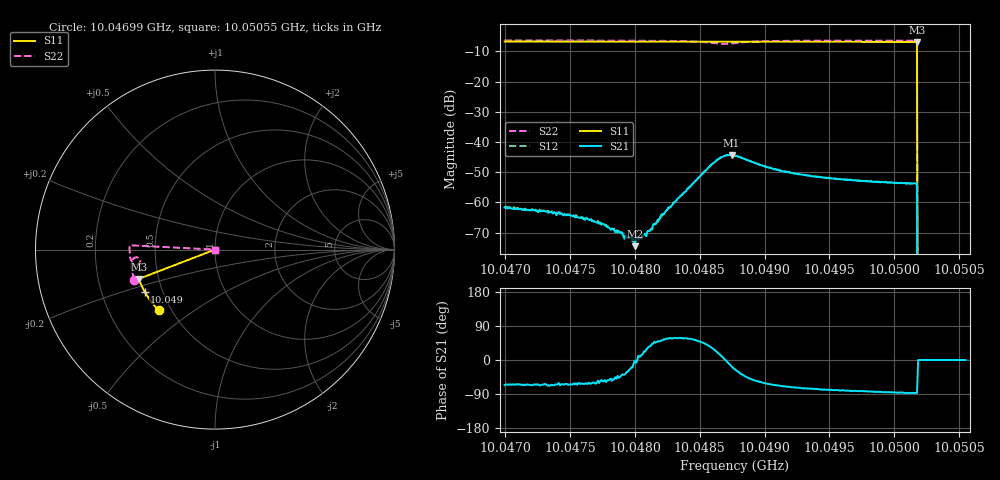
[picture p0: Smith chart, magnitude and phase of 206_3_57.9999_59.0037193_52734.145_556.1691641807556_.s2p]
#  HZ  S  RI  R  50.00
! Rohde & Schwarz Vector Network Analyzer
! Rohde-Schwarz,ZNB20-2Port,1311601062101988,3.16
! Created: UTC 3/21/2024, 12:59:27 AM
! freq[Hz]  re:S11  im:S11  re:S21  im:S21  re:S12  im:S12  re:S22  im:S22
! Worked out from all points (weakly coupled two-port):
!   401 points, 10.04699 GHz to 10.05055 GHz, reference 50 ohm
!   highest |S21| = -44.34 dB at 10.04874 GHz (marker M1); lowest = -74.5 dB at 10.048 GHz (marker M2)
!   lowest |S11| = -6.8 dB at 10.05018 GHz (marker M3), VSWR 2.67, Z = 19.3 - j7.94 ohm
!   |S11| at or under -10 dB: 10.05018 GHz to end of sweep
!   |S22| runs from - to -6.4 dB; largest |S21 - S12| = 0.00042
!   S11 on the Smith chart (normalised r, x): 10.04699 GHz: 0.43, -0.37; 10.049 GHz: 0.40, -0.23; 10.05055 GHz: 1.00, +0.00
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1.0046993e10  -0.3124 -0.3386  0.000337 -0.000761  0.000403 -0.000738  -0.4487 -0.1691
1.0047296e10  -0.3263 -0.3241  0.000312 -0.000653  0.000335 -0.000659  -0.4551 -0.1491
1.0047589e10  -0.3392 -0.3096  0.00027 -0.0005  0.000279 -0.000503  -0.4603 -0.129
1.0047749e10  -0.346 -0.3015  0.000251 -0.000365  0.000246 -0.000356  -0.4627 -0.1174
1.0047882e10  -0.3516 -0.2946  0.000231 -0.000231  0.000244 -0.000204  -0.4643 -0.1073
1.0047927e10  -0.3534 -0.2923  0.000226 -0.000167  0.000251 -0.000136  -0.4648 -0.1039
1.0047998e10  -0.3563 -0.2885  0.000188 -6.43e-06  0.000219 -1.68e-05  -0.4655 -0.0982
1.0048034e10  -0.3577 -0.2867  0.000256 3.94e-05  0.000243 2.26e-05  -0.4657 -0.0954
1.0048069e10  -0.3591 -0.2848  0.000274 0.000117  0.00028 0.000119  -0.4659 -0.0924
1.0048185e10  -0.3639 -0.2786  0.000337 0.000387  0.000293 0.000449  -0.4659 -0.0821
1.0048318e10  -0.3687 -0.2715  0.000567 0.000909  0.000522 0.000942  -0.4645 -0.069
1.0048603e10  -0.3788 -0.2555  0.00385 0.00221  0.00375 0.00243  -0.4327 -0.0431
1.0048674e10  -0.3811 -0.2517  0.00562 0.000801  0.00562 0.00113  -0.4181 -0.0548
1.0048745e10  -0.3833 -0.2479  0.0058 -0.00177  0.00595 -0.00138  -0.4206 -0.0749
1.0048772e10  -0.3844 -0.2466  0.00534 -0.00252  0.00559 -0.00218  -0.426 -0.0797
1.0049003e10  -0.3923 -0.2336  0.00187 -0.00346  0.00213 -0.00336  -0.4626 -0.0689
1.0049367e10  -0.4036 -0.2124  0.000657 -0.00263  0.000822 -0.0026  -0.4741 -0.0352
1.0049963e10  -0.4196 -0.1765  0.00019 -0.00212  0.000289 -0.00209  -0.4767 0.00926
1.0050158e10  -0.4241 -0.1644  9.99e-05 -0.00207  0.000245 -0.00204  -0.4762 0.0229
1.0050176e10  -0.4245 -0.1632  0.000113 -0.00206  0.000244 -0.00203  -0.476 0.0242
1.0050203e10  0 0  0 0  0 0  0 0
1.005055e10  0 0  0 0  0 0  0 0
